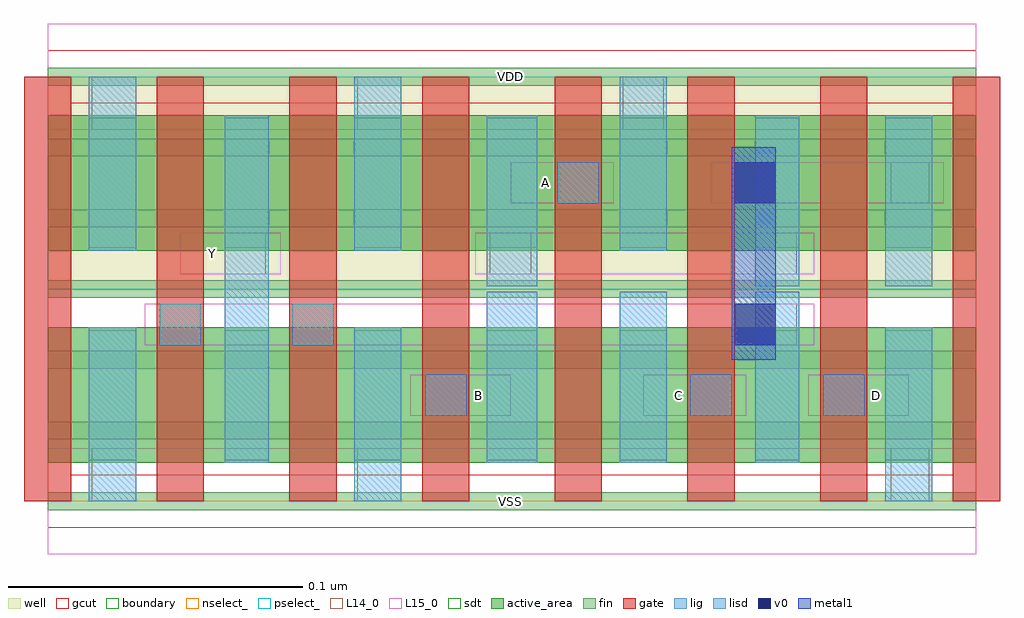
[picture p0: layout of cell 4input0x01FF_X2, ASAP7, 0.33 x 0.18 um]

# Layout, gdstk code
import gdstk
lib = gdstk.Library(unit=1e-6, precision=1e-09)
def R(c, l, rs):  # rectangles x0, y0, x1, y1
    for r in rs: c.add(gdstk.rectangle(r[:2], r[2:], *l))
def A(c, l, x, y, w, h, nx, ny, dx, dy):  # array of equal rectangles
    R(c, l, [(x+i*dx, y+j*dy, x+i*dx+w, y+j*dy+h) for i in range(nx) for j in range(ny)])
def P(c, l, *ps):  # polygons
    for p in ps: c.add(gdstk.Polygon(p, *l))
well = (1, 0)
fin = (2, 0)
gate = (7, 0)
gcut = (10, 0)
active_area = (11, 0)
nselect_ = (12, 0)
pselect_ = (13, 0)
L14_0 = (14, 0)
L15_0 = (15, 0)
lig = (16, 0)
lisd = (17, 0)
v0 = (18, 0)
metal1 = (19, 0)
sdt = (88, 0)
boundary = (100, 0)

c_4input0x01ff_x2 = lib.new_cell('4input0x01FF_X2')
R(c_4input0x01ff_x2, well, [(0,0.072,0.315,0.144)])
A(c_4input0x01ff_x2, fin, 0, -0.003, 0.315, 0.006, 1, 7, 0, 0.024)
A(c_4input0x01ff_x2, gate, -0.008, 0, 0.016, 0.144, 8, 1, 0.045, 0)
P(c_4input0x01ff_x2, gcut, [(0,-0.009),(0,0),(-0.008,0),(-0.008,0.135),(0.008,0.135),(0.008,0.009),(0.307,0.009),(0.307,0.135),(-0.008,0.135),(-0.008,0.144),(0,0.144),(0,0.153),(0.315,0.153),(0.315,0.144),(0.323,0.144),(0.323,0),(0.315,0),(0.315,-0.009)])
R(c_4input0x01ff_x2, active_area, [(0,0.013,0.315,0.059), (0,0.085,0.315,0.131)])
R(c_4input0x01ff_x2, nselect_, [(0,0,0.315,0.072)])
R(c_4input0x01ff_x2, pselect_, [(0,0.072,0.315,0.144)])
A(c_4input0x01ff_x2, L14_0, 0.06, 0.077, 0.014, 0.014, 3, 1, 0.09, 0)
R(c_4input0x01ff_x2, L14_0, [(0.015,0,0.03,0.018), (0.105,0,0.12,0.018), (0.286,0,0.299,0.018), (0.128,0.029,0.142,0.043), (0.218,0.029,0.232,0.043), (0.263,0.029,0.277,0.043), (0.038,0.053,0.052,0.067), (0.083,0.053,0.097,0.067), (0.24,0.053,0.254,0.067), (0.173,0.101,0.187,0.115), (0.286,0.101,0.299,0.115), (0.015,0.126,0.03,0.144), (0.105,0.126,0.12,0.144), (0.195,0.126,0.209,0.144)])
R(c_4input0x01ff_x2, L15_0, [(0,-0.018,0.315,0.018), (0.123,0.029,0.157,0.043), (0.202,0.029,0.237,0.043), (0.258,0.029,0.292,0.043), (0.033,0.053,0.26,0.067), (0.045,0.077,0.079,0.091), (0.145,0.077,0.26,0.091), (0.157,0.101,0.192,0.115), (0.225,0.101,0.304,0.115), (0,0.126,0.315,0.162)])
R(c_4input0x01ff_x2, lig, [(0.128,0.029,0.142,0.043), (0.218,0.029,0.232,0.043), (0.263,0.029,0.277,0.043), (0.038,0.053,0.052,0.067), (0.083,0.053,0.097,0.067), (0.173,0.101,0.187,0.115)])
A(c_4input0x01ff_x2, lisd, 0.014, 0.085, 0.016, 0.059, 3, 1, 0.09, 0)
R(c_4input0x01ff_x2, lisd, [(0.014,0,0.03,0.059), (0.104,0,0.12,0.059), (0.284,0,0.3,0.059), (0.06,0.013,0.075,0.131), (0.149,0.013,0.166,0.071), (0.194,0.013,0.21,0.071), (0.24,0.013,0.255,0.071), (0.149,0.073,0.166,0.131), (0.24,0.073,0.255,0.131), (0.284,0.073,0.3,0.131)])
R(c_4input0x01ff_x2, v0, [(0.233,0.053,0.247,0.067), (0.233,0.101,0.247,0.115)])
R(c_4input0x01ff_x2, metal1, [(0.232,0.048,0.247,0.12)])
A(c_4input0x01ff_x2, sdt, 0.014, 0.014, 0.016, 0.044, 4, 2, 0.09, 0.072)
R(c_4input0x01ff_x2, sdt, [(0.06,0.014,0.075,0.058), (0.149,0.014,0.166,0.058), (0.24,0.014,0.255,0.058), (0.06,0.086,0.075,0.13), (0.149,0.086,0.166,0.13), (0.24,0.086,0.255,0.13)])
R(c_4input0x01ff_x2, boundary, [(0,0,0.315,0.144)])
c_4input0x01ff_x2.add(gdstk.Label('D', (0.281,0.036), layer=15, texttype=251))
c_4input0x01ff_x2.add(gdstk.Label('VSS', (0.157,0), layer=15, texttype=251))
c_4input0x01ff_x2.add(gdstk.Label('VDD', (0.157,0.144), layer=15, texttype=251))
c_4input0x01ff_x2.add(gdstk.Label('A', (0.169,0.108), layer=15, texttype=251))
c_4input0x01ff_x2.add(gdstk.Label('VSS', (0.157,0), layer=15, texttype=251))
c_4input0x01ff_x2.add(gdstk.Label('VDD', (0.157,0.144), layer=15, texttype=251))
c_4input0x01ff_x2.add(gdstk.Label('C', (0.214,0.036), layer=15, texttype=251))
c_4input0x01ff_x2.add(gdstk.Label('VSS', (0.157,0), layer=15, texttype=251))
c_4input0x01ff_x2.add(gdstk.Label('VDD', (0.157,0.144), layer=15, texttype=251))
c_4input0x01ff_x2.add(gdstk.Label('Y', (0.056,0.084), layer=15, texttype=251))
c_4input0x01ff_x2.add(gdstk.Label('VSS', (0.157,0), layer=15, texttype=251))
c_4input0x01ff_x2.add(gdstk.Label('VDD', (0.157,0.144), layer=15, texttype=251))
c_4input0x01ff_x2.add(gdstk.Label('B', (0.146,0.036), layer=15, texttype=251))
c_4input0x01ff_x2.add(gdstk.Label('VSS', (0.157,0), layer=15, texttype=251))
c_4input0x01ff_x2.add(gdstk.Label('VDD', (0.157,0.144), layer=15, texttype=251))
c_4input0x01ff_x2.add(gdstk.Label('VSS', (0.157,0), layer=3, texttype=251))
c_4input0x01ff_x2.add(gdstk.Label('VSS', (0.157,0), layer=3, texttype=251))
c_4input0x01ff_x2.add(gdstk.Label('VSS', (0.157,0), layer=3, texttype=251))
c_4input0x01ff_x2.add(gdstk.Label('VSS', (0.157,0), layer=3, texttype=251))
c_4input0x01ff_x2.add(gdstk.Label('VSS', (0.157,0), layer=3, texttype=251))
c_4input0x01ff_x2.add(gdstk.Label('VDD', (0.157,0.144), layer=1, texttype=251))
c_4input0x01ff_x2.add(gdstk.Label('VDD', (0.157,0.144), layer=1, texttype=251))
c_4input0x01ff_x2.add(gdstk.Label('VDD', (0.157,0.144), layer=1, texttype=251))
c_4input0x01ff_x2.add(gdstk.Label('VDD', (0.157,0.144), layer=1, texttype=251))
c_4input0x01ff_x2.add(gdstk.Label('VDD', (0.157,0.144), layer=1, texttype=251))

lib.write_gds('4input0x01FF_X2.gds')
